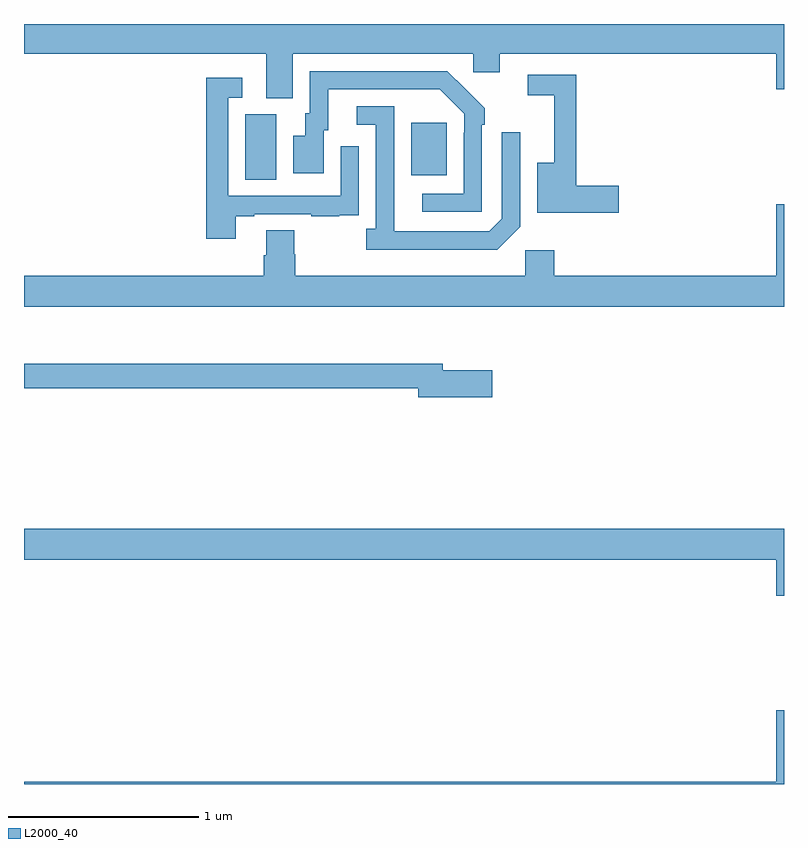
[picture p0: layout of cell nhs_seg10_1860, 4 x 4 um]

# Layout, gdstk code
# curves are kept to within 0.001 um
import gdstk
lib = gdstk.Library(unit=1e-6, precision=1e-09)
def R(c, l, rs):  # rectangles x0, y0, x1, y1
    for r in rs: c.add(gdstk.rectangle(r[:2], r[2:], *l))
def P(c, l, *ps):  # polygons
    for p in ps: c.add(gdstk.Polygon(p, *l))
L2000_40 = (2000, 40)

nhs_seg10_1860 = lib.new_cell('nhs_seg10_1860')
R(nhs_seg10_1860, L2000_40, [(210.164,1271.68,210.328,1272.024), (211.037,1271.705,211.225,1271.98)])
P(nhs_seg10_1860, L2000_40, [(210.415,1272.344),(211.365,1272.344),(211.365,1272.246),(211.504,1272.246),(211.504,1272.344),(212.96,1272.344),(212.96,1272.156),(213,1272.156),(213,1272.5),(209,1272.5),(209,1272.344),(210.275,1272.344),(210.275,1272.109),(210.415,1272.109)],
  [(211.41,1271.969),(211.425,1271.969),(211.425,1272.057),(211.228,1272.252),(210.504,1272.252),(210.504,1272.03),(210.479,1272.03),(210.479,1271.911),(210.416,1271.911),(210.416,1271.715),(210.577,1271.715),(210.577,1271.94),(210.601,1271.94),(210.601,1272.156),(211.189,1272.156),(211.317,1272.027),(211.317,1271.927),(211.314,1271.927),(211.314,1271.607),(211.095,1271.607),(211.095,1271.511),(211.41,1271.511)],
  [(212.131,1271.648),(211.907,1271.648),(211.907,1272.234),(211.65,1272.234),(211.65,1272.126),(211.79,1272.126),(211.79,1271.77),(211.7,1271.77),(211.7,1271.506),(212.131,1271.506)],
  [(210.115,1271.487),(210.211,1271.487),(210.211,1271.499),(210.511,1271.499),(210.511,1271.487),(210.659,1271.487),(210.659,1271.493),(210.761,1271.493),(210.761,1271.602),(210.762,1271.602),(210.762,1271.857),(210.666,1271.857),(210.666,1271.595),(210.075,1271.595),(210.075,1272.111),(210.148,1272.111),(210.148,1272.217),(209.959,1272.217),(209.959,1271.37),(210.115,1271.37)],
  [(211.611,1271.433),(211.611,1271.929),(211.515,1271.929),(211.515,1271.475),(211.449,1271.409),(210.949,1271.409),(210.948,1272.066),(210.75,1272.066),(210.75,1271.97),(210.852,1271.97),(210.852,1271.422),(210.801,1271.422),(210.801,1271.312),(211.49,1271.312)],
  [(213,1271.551),(212.96,1271.551),(212.96,1271.176),(211.79,1271.176),(211.79,1271.308),(211.638,1271.308),(211.638,1271.176),(210.428,1271.176),(210.428,1271.289),(210.423,1271.289),(210.423,1271.414),(210.275,1271.414),(210.275,1271.282),(210.263,1271.282),(210.263,1271.176),(209,1271.176),(209,1271.012),(213,1271.012)],
  [(211.465,1270.677),(211.204,1270.677),(211.204,1270.711),(209,1270.711),(209,1270.582),(211.076,1270.582),(211.076,1270.535),(211.465,1270.535)],
  [(213,1269.844),(209,1269.844),(209,1269.68),(212.96,1269.68),(212.96,1269.492),(213,1269.492)],
  [(213,1268.887),(212.96,1268.887),(212.96,1268.512),(209,1268.512),(209,1268.5),(213,1268.5)])

lib.write_gds('nhs_seg10_1860.gds')
